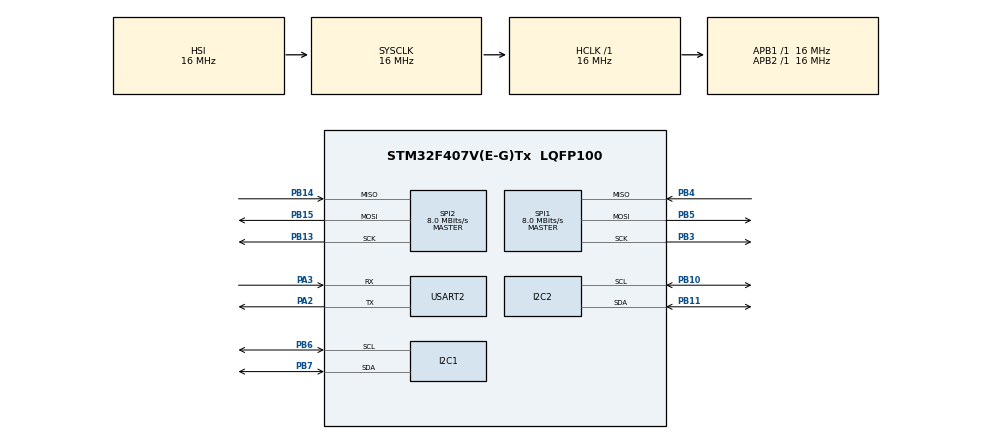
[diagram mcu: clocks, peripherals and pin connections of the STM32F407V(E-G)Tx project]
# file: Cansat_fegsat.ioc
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Mcu.Family=STM32F4
Mcu.Name=STM32F407V(E-G)Tx
Mcu.Package=LQFP100
NVIC.PriorityGroup=NVIC_PRIORITYGROUP_4
PA2.Mode=Asynchronous
PA2.Signal=USART2_TX
PA3.Mode=Asynchronous
PA3.Signal=USART2_RX
PB10.Mode=I2C
PB10.Signal=I2C2_SCL
PB11.Mode=I2C
PB11.Signal=I2C2_SDA
PB13.Mode=Full_Duplex_Master
PB13.Signal=SPI2_SCK
PB14.Mode=Full_Duplex_Master
PB14.Signal=SPI2_MISO
PB15.Mode=Full_Duplex_Master
PB15.Signal=SPI2_MOSI
PB3.Mode=Full_Duplex_Master
PB3.Signal=SPI1_SCK
PB4.Mode=Full_Duplex_Master
PB4.Signal=SPI1_MISO
PB5.Mode=Full_Duplex_Master
PB5.Signal=SPI1_MOSI
PB6.Mode=I2C
PB6.Signal=I2C1_SCL
PB7.Mode=I2C
PB7.Signal=I2C1_SDA
ProjectManager.HeapSize=0x200
ProjectManager.StackSize=0x400
ProjectManager.TargetToolchain=CMake
RCC.48MHZClocksFreq_Value=48000000
RCC.AHBFreq_Value=16000000
RCC.APB1Freq_Value=16000000
RCC.APB1TimCLKDivider=1
RCC.APB1TimFreq_Value=16000000
RCC.APB2Freq_Value=16000000
RCC.APB2TimFreq_Value=16000000
RCC.CortexFreq_Value=16000000
RCC.HCLKFreq_Value=16000000
RCC.HSE_VALUE=25000000
RCC.HSI_VALUE=16000000
RCC.LSE_VALUE=32768
RCC.SYSCLKFreq_VALUE=16000000
RCC.VCOOutputFreq_Value=192000000
SPI1.BaudRatePrescaler=SPI_BAUDRATEPRESCALER_2
SPI1.CalculateBaudRate=8.0 MBits/s
SPI1.Direction=SPI_DIRECTION_2LINES
SPI1.Mode=SPI_MODE_MASTER
SPI1.VirtualType=VM_MASTER
SPI2.BaudRatePrescaler=SPI_BAUDRATEPRESCALER_2
SPI2.CalculateBaudRate=8.0 MBits/s
SPI2.Direction=SPI_DIRECTION_2LINES
SPI2.Mode=SPI_MODE_MASTER
SPI2.VirtualType=VM_MASTER
USART2.VirtualMode=VM_ASYNC
board=custom

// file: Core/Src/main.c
/* USER CODE BEGIN Header */
/**
  ******************************************************************************
  * @file           : main.c
  * @brief          : Main program body
  ******************************************************************************
  * @attention
  *
  * Copyright (c) 2026 STMicroelectronics.
  * All rights reserved.
  *
  * This software is licensed under terms that can be found in the LICENSE file
  * in the root directory of this software component.
  * If no LICENSE file comes with this software, it is provided AS-IS.
  *
  ******************************************************************************
  */
/* USER CODE END Header */
#include "main.h"

/* USER CODE BEGIN Includes */
#include "BME280_STM32.h"
#include "MPU6050.h"
#include <string.h>
#include <stdio.h>
/* USER CODE END Includes */

I2C_HandleTypeDef hi2c1;
I2C_HandleTypeDef hi2c2;

SPI_HandleTypeDef hspi1;
SPI_HandleTypeDef hspi2;

UART_HandleTypeDef huart2;

/* USER CODE BEGIN PV */
float temperature_bme, pressure_bme, humidity_bme;
MPU6050_t mpu_data;

/* USER CODE END PV */

void SystemClock_Config(void);
static void MX_GPIO_Init(void);
static void MX_I2C1_Init(void);
static void MX_I2C2_Init(void);
static void MX_SPI1_Init(void);
static void MX_SPI2_Init(void);
static void MX_USART2_UART_Init(void);

int main(void)
{

  /* MCU Configuration--------------------------------------------------------*/

  /* Reset of all peripherals, Initializes the Flash interface and the Systick. */
  HAL_Init();

  /* Configure the system clock */
  SystemClock_Config();

  /* Initialize all configured peripherals */
  MX_GPIO_Init();
  MX_I2C1_Init();
  MX_I2C2_Init();
  MX_SPI1_Init();
  MX_SPI2_Init();
  MX_USART2_UART_Init();
  /* USER CODE BEGIN 2 */

  char buffer[256];
  /*---------------------------------------Inicia sensores---------------------------------------*/

  /*---------------------------------------BME280---------------------------------------*/
  if (BME280_Config(OSRS_1, OSRS_1, OSRS_1, MODE_NORMAL, T_SB_250, IIR_2) != 0)
  {
    HAL_UART_Transmit(&huart2, (uint8_t*)"Erro na init do BME280!\r\n", 25, 100);
  }

  /*---------------------------------------MPU-6050---------------------------------------*/
  // Passamos o handle do barramento I2C onde o MPU está conectado (ex: hi2c1)
  if (MPU6050_Init(&hi2c1) != HAL_OK)
  {
    HAL_UART_Transmit(&huart2, (uint8_t*)"Erro: MPU6050 nao encontrado!\r\n", 31, 100);
  }
  else
  {
    HAL_UART_Transmit(&huart2, (uint8_t*)"MPU6050 Inicializado!\r\n", 23, 100);
  }

  /* USER CODE END 2 */

  /* Infinite loop */
  while (1)
  {

    /* USER CODE BEGIN 3 */
  /*---------------------------------------------------Leitura dos valores do BME280----------------------------------*/
    BME280_Measure(&temperature_bme, &pressure_bme, &humidity_bme);

    sprintf(buffer, "Temp: %.2f°C | Press: %.2f hPa | Hum: %.2f%%\r\n",
            temperature_bme, pressure_bme/100.0f, humidity_bme);
    HAL_UART_Transmit(&huart2, (uint8_t *)buffer, strlen(buffer), 100);

  /*---------------------------------Leitura do MPU-6050---------------------------------*/
    if (MPU6050_ReadAll(&hi2c1, &mpu_data) == HAL_OK)
    {
      // Converte os valores RAW para g, °/s e °C
      MPU6050_Convert(&mpu_data);

      sprintf(buffer, "[MPU6050]  Accel[g]: X=%.3f Y=%.3f Z=%.3f | Gyro[dps]: X=%.2f Y=%.2f Z=%.2f | Temp: %.1f C\r\n\n",
              mpu_data.Ax, mpu_data.Ay, mpu_data.Az,
              mpu_data.Gx, mpu_data.Gy, mpu_data.Gz,
              mpu_data.Temperature);
      HAL_UART_Transmit(&huart2, (uint8_t *)buffer, strlen(buffer), 100);
    }

    HAL_Delay(500);
  /* USER CODE END 3 */
}
}

void SystemClock_Config(void)
{
  RCC_OscInitTypeDef RCC_OscInitStruct = {0};
  RCC_ClkInitTypeDef RCC_ClkInitStruct = {0};

  /** Configure the main internal regulator output voltage
  */
  __HAL_RCC_PWR_CLK_ENABLE();
  __HAL_PWR_VOLTAGESCALING_CONFIG(PWR_REGULATOR_VOLTAGE_SCALE1);

  /** Initializes the RCC Oscillators according to the specified parameters
  * in the RCC_OscInitTypeDef structure.
  */
  RCC_OscInitStruct.OscillatorType = RCC_OSCILLATORTYPE_HSI;
  RCC_OscInitStruct.HSIState = RCC_HSI_ON;
  RCC_OscInitStruct.HSICalibrationValue = RCC_HSICALIBRATION_DEFAULT;
  RCC_OscInitStruct.PLL.PLLState = RCC_PLL_NONE;
  if (HAL_RCC_OscConfig(&RCC_OscInitStruct) != HAL_OK)
  {
    Error_Handler();
  }

  /** Initializes the CPU, AHB and APB buses clocks
  */
  RCC_ClkInitStruct.ClockType = RCC_CLOCKTYPE_HCLK|RCC_CLOCKTYPE_SYSCLK
                              |RCC_CLOCKTYPE_PCLK1|RCC_CLOCKTYPE_PCLK2;
  RCC_ClkInitStruct.SYSCLKSource = RCC_SYSCLKSOURCE_HSI;
  RCC_ClkInitStruct.AHBCLKDivider = RCC_SYSCLK_DIV1;
  RCC_ClkInitStruct.APB1CLKDivider = RCC_HCLK_DIV1;
  RCC_ClkInitStruct.APB2CLKDivider = RCC_HCLK_DIV1;

  if (HAL_RCC_ClockConfig(&RCC_ClkInitStruct, FLASH_LATENCY_0) != HAL_OK)
  {
    Error_Handler();
  }
}

static void MX_I2C1_Init(void)
{

  hi2c1.Instance = I2C1;
  hi2c1.Init.ClockSpeed = 100000;
  hi2c1.Init.DutyCycle = I2C_DUTYCYCLE_2;
  hi2c1.Init.OwnAddress1 = 0;
  hi2c1.Init.AddressingMode = I2C_ADDRESSINGMODE_7BIT;
  hi2c1.Init.DualAddressMode = I2C_DUALADDRESS_DISABLE;
  hi2c1.Init.OwnAddress2 = 0;
  hi2c1.Init.GeneralCallMode = I2C_GENERALCALL_DISABLE;
  hi2c1.Init.NoStretchMode = I2C_NOSTRETCH_DISABLE;
  if (HAL_I2C_Init(&hi2c1) != HAL_OK)
  {
    Error_Handler();
  }

}

static void MX_I2C2_Init(void)
{

  hi2c2.Instance = I2C2;
  hi2c2.Init.ClockSpeed = 100000;
  hi2c2.Init.DutyCycle = I2C_DUTYCYCLE_2;
  hi2c2.Init.OwnAddress1 = 0;
  hi2c2.Init.AddressingMode = I2C_ADDRESSINGMODE_7BIT;
  hi2c2.Init.DualAddressMode = I2C_DUALADDRESS_DISABLE;
  hi2c2.Init.OwnAddress2 = 0;
  hi2c2.Init.GeneralCallMode = I2C_GENERALCALL_DISABLE;
  hi2c2.Init.NoStretchMode = I2C_NOSTRETCH_DISABLE;
  if (HAL_I2C_Init(&hi2c2) != HAL_OK)
  {
    Error_Handler();
  }

}

static void MX_SPI1_Init(void)
{

  /* SPI1 parameter configuration*/
  hspi1.Instance = SPI1;
  hspi1.Init.Mode = SPI_MODE_MASTER;
  hspi1.Init.Direction = SPI_DIRECTION_2LINES;
  hspi1.Init.DataSize = SPI_DATASIZE_8BIT;
  hspi1.Init.CLKPolarity = SPI_POLARITY_LOW;
  hspi1.Init.CLKPhase = SPI_PHASE_1EDGE;
  hspi1.Init.NSS = SPI_NSS_SOFT;
  hspi1.Init.BaudRatePrescaler = SPI_BAUDRATEPRESCALER_2;
  hspi1.Init.FirstBit = SPI_FIRSTBIT_MSB;
  hspi1.Init.TIMode = SPI_TIMODE_DISABLE;
  hspi1.Init.CRCCalculation = SPI_CRCCALCULATION_DISABLE;
  hspi1.Init.CRCPolynomial = 10;
  if (HAL_SPI_Init(&hspi1) != HAL_OK)
  {
    Error_Handler();
  }

}

static void MX_SPI2_Init(void)
{

  /* SPI2 parameter configuration*/
  hspi2.Instance = SPI2;
  hspi2.Init.Mode = SPI_MODE_MASTER;
  hspi2.Init.Direction = SPI_DIRECTION_2LINES;
  hspi2.Init.DataSize = SPI_DATASIZE_8BIT;
  hspi2.Init.CLKPolarity = SPI_POLARITY_LOW;
  hspi2.Init.CLKPhase = SPI_PHASE_1EDGE;
  hspi2.Init.NSS = SPI_NSS_SOFT;
  hspi2.Init.BaudRatePrescaler = SPI_BAUDRATEPRESCALER_2;
  hspi2.Init.FirstBit = SPI_FIRSTBIT_MSB;
  hspi2.Init.TIMode = SPI_TIMODE_DISABLE;
  hspi2.Init.CRCCalculation = SPI_CRCCALCULATION_DISABLE;
  hspi2.Init.CRCPolynomial = 10;
  if (HAL_SPI_Init(&hspi2) != HAL_OK)
  {
    Error_Handler();
  }

}

static void MX_USART2_UART_Init(void)
{

  huart2.Instance = USART2;
  huart2.Init.BaudRate = 115200;
  huart2.Init.WordLength = UART_WORDLENGTH_8B;
  huart2.Init.StopBits = UART_STOPBITS_1;
  huart2.Init.Parity = UART_PARITY_NONE;
  huart2.Init.Mode = UART_MODE_TX_RX;
  huart2.Init.HwFlowCtl = UART_HWCONTROL_NONE;
  huart2.Init.OverSampling = UART_OVERSAMPLING_16;
  if (HAL_UART_Init(&huart2) != HAL_OK)
  {
    Error_Handler();
  }

}

static void MX_GPIO_Init(void)
{

  /* GPIO Ports Clock Enable */
  __HAL_RCC_GPIOA_CLK_ENABLE();
  __HAL_RCC_GPIOB_CLK_ENABLE();

}

void Error_Handler(void)
{
  __disable_irq();
  while (1)
  {
  }
}
